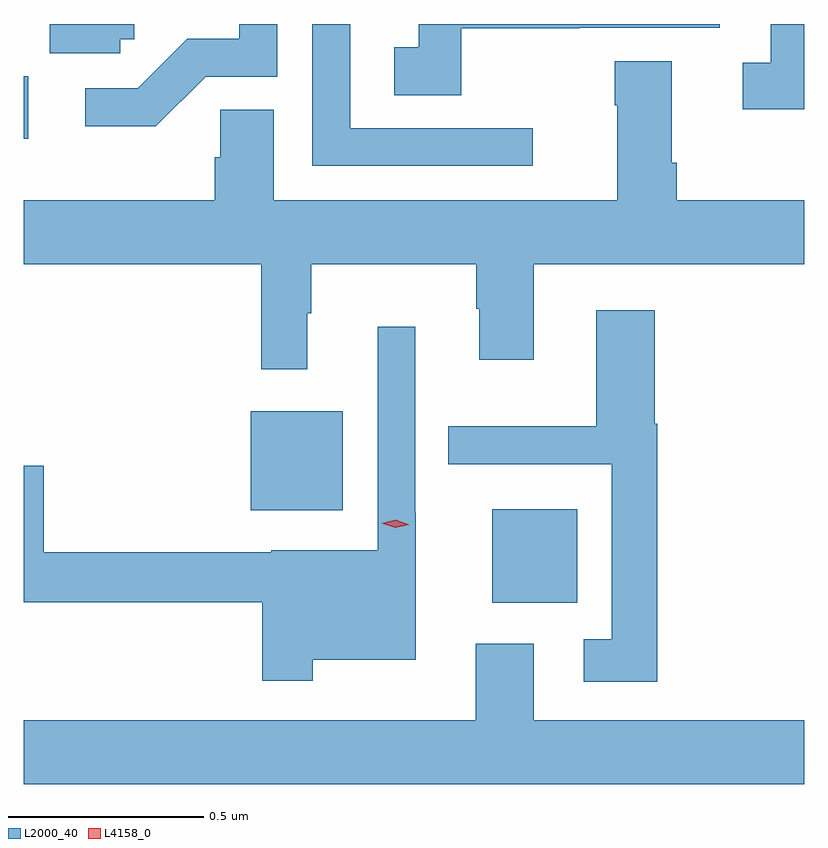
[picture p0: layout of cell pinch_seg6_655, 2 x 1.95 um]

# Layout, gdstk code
import gdstk
lib = gdstk.Library(unit=1e-6, precision=1e-09)
def R(c, l, rs):  # rectangles x0, y0, x1, y1
    for r in rs: c.add(gdstk.rectangle(r[:2], r[2:], *l))
def P(c, l, *ps):  # polygons
    for p in ps: c.add(gdstk.Polygon(p, *l))
L2000_40 = (2000, 40)
L4158_0 = (4158, 0)

pinch_seg6_655 = lib.new_cell('pinch_seg6_655')
R(pinch_seg6_655, L2000_40, [(433.262,967.781,433.48,968.02), (432.644,968.018,432.88,968.272), (432.062,968.97,432.073,969.13)])
P(pinch_seg6_655, L2000_40, [(432.528,969.129),(432.711,969.129),(432.711,969.264),(432.614,969.264),(432.614,969.226),(432.481,969.226),(432.354,969.099),(432.219,969.099),(432.219,969.002),(432.4,969.002)],
  [(432.309,969.225),(432.345,969.225),(432.345,969.264),(432.128,969.264),(432.128,969.189),(432.309,969.189)],
  [(433.183,969.253),(433.487,969.253),(433.487,969.255),(433.846,969.255),(433.846,969.264),(433.074,969.264),(433.074,969.204),(433.011,969.204),(433.011,969.082),(433.183,969.082)],
  [(433.366,968.997),(432.898,968.997),(432.898,969.264),(432.801,969.264),(432.801,968.901),(433.366,968.901)],
  [(434.062,969.264),(433.976,969.264),(433.976,969.165),(433.905,969.165),(433.905,969.045),(434.062,969.045)],
  [(432.788,968.522),(432.799,968.522),(432.799,968.648),(433.222,968.648),(433.222,968.534),(433.229,968.534),(433.229,968.403),(433.369,968.403),(433.369,968.648),(434.062,968.648),(434.062,968.812),(433.736,968.812),(433.736,968.908),(433.723,968.908),(433.723,969.169),(433.576,969.169),(433.576,969.056),(433.583,969.056),(433.583,968.812),(432.703,968.812),(432.703,969.044),(432.565,969.044),(432.565,968.922),(432.551,968.922),(432.551,968.812),(432.062,968.812),(432.062,968.648),(432.67,968.648),(432.67,968.379),(432.788,968.379)],
  [(433.685,968.239),(433.679,968.239),(433.679,968.53),(433.529,968.53),(433.529,968.233),(433.15,968.233),(433.15,968.136),(433.569,968.136),(433.569,967.687),(433.497,967.687),(433.497,967.578),(433.685,967.578)],
  [(432.802,967.634),(433.067,967.634),(433.067,968.011),(433.065,968.011),(433.065,968.488),(432.969,968.488),(432.969,967.915),(432.696,967.915),(432.696,967.91),(432.113,967.91),(432.113,968.132),(432.062,968.132),(432.062,967.782),(432.673,967.782),(432.673,967.581),(432.802,967.581)],
  [(434.062,967.48),(433.369,967.48),(433.369,967.675),(433.22,967.675),(433.22,967.48),(432.062,967.48),(432.062,967.316),(434.062,967.316)])
P(pinch_seg6_655, L4158_0, [(433.014,967.973),(432.979,967.984),(432.979,967.984),(432.979,967.984),(433.015,967.993),(433.05,967.981),(433.05,967.981),(433.05,967.981)])

lib.write_gds('pinch_seg6_655.gds')
